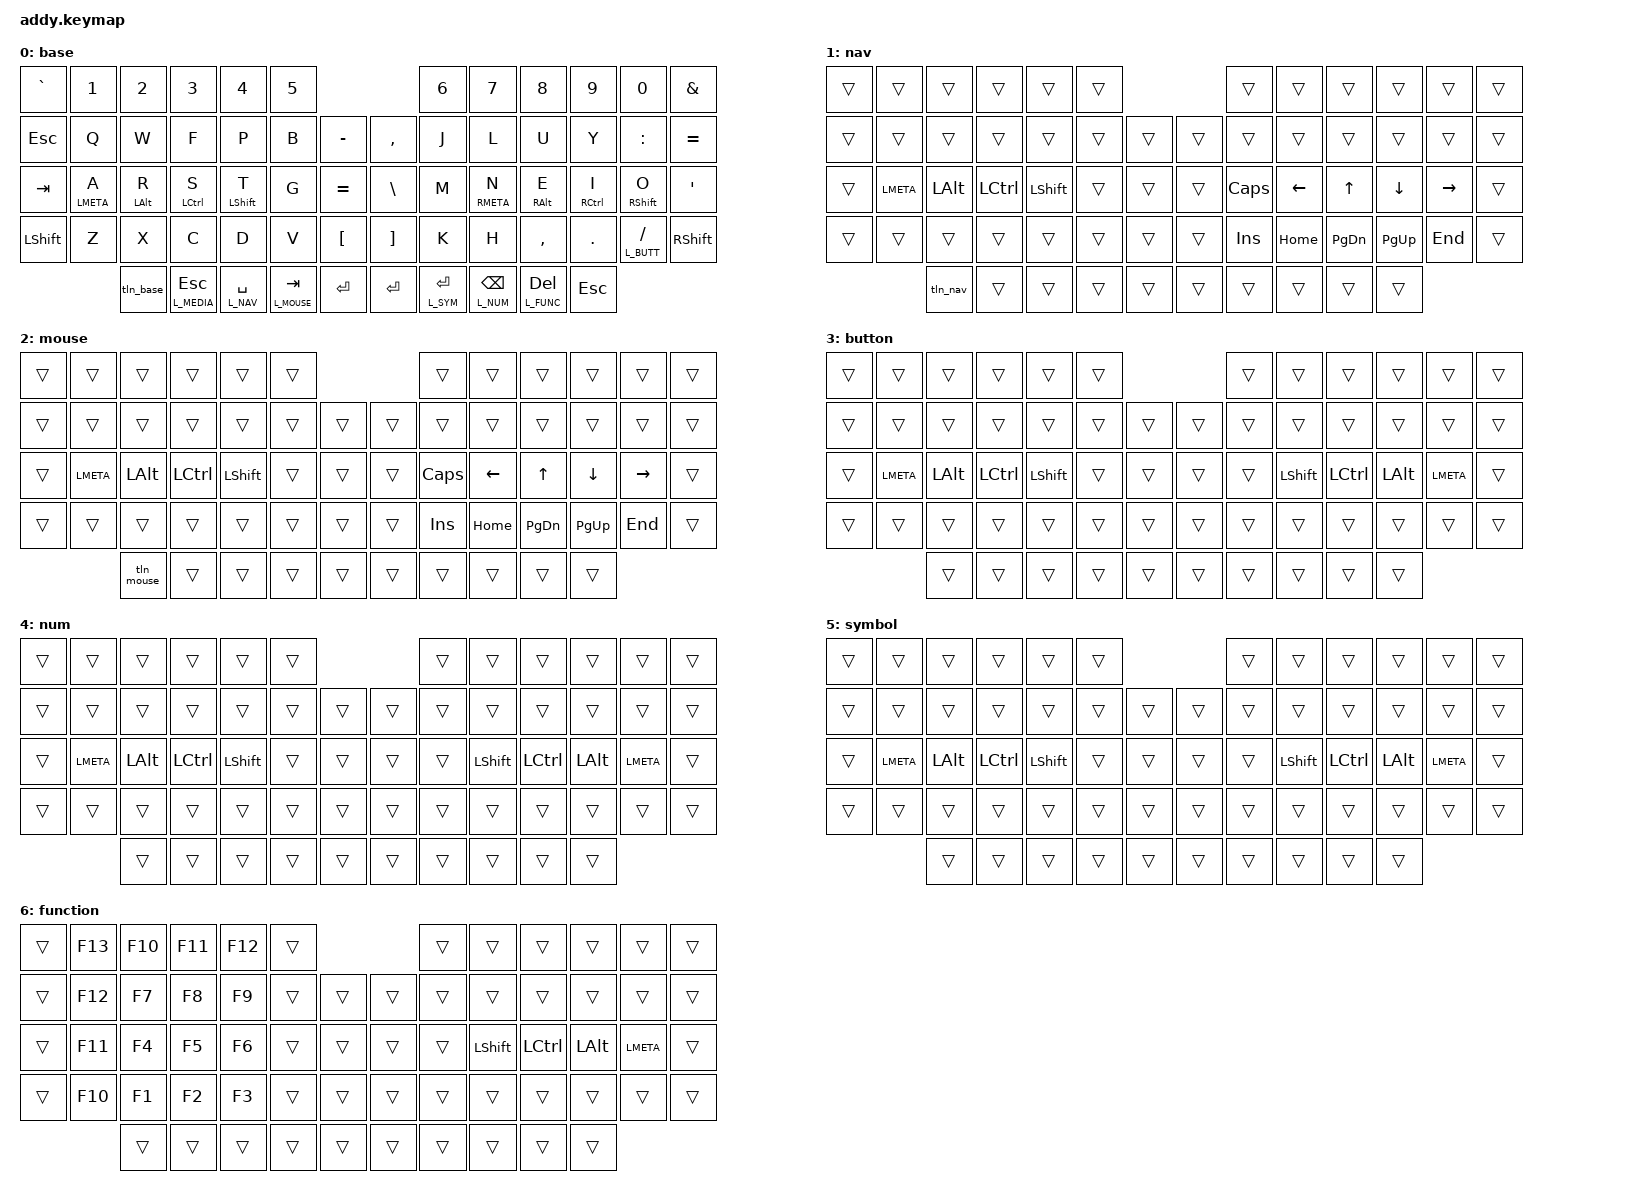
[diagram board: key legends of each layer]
/*
 * Copyright (c) 2020 The ZMK Contributors
 *
 * SPDX-License-Identifier: MIT
 */

#include <behaviors.dtsi>
#include <dt-bindings/zmk/keys.h>
#include <dt-bindings/zmk/bt.h>
#include <dt-bindings/zmk/rgb.h>
#include <dt-bindings/zmk/ext_power.h>
#include <dt-bindings/zmk/outputs.h>

#define L_BASE 0
#define L_NAV 1
#define L_MOUSE 2
#define L_BUTT 3
#define L_NUM 4
#define L_SYM 5
#define L_FUNC 6
#define L_MEDIA 7
#define L_EXTRA 8


&lt {
    tapping-term-ms = <200>;
};

/ {
    macros {
        tln_base: type_base {
            label = "Type Base";
            compatible = "zmk,behavior-macro";
            #binding-cells = <0>;
            bindings = <&kp B &kp A &kp S &kp E>;
        };
        tln_nav: type_nav {
            label = "Type nav";
            compatible = "zmk,behavior-macro";
            #binding-cells = <0>;
            bindings = <&kp N &kp A &kp V>;
        };
        tln_mouse: type_mouse {
            label = "Type mouse";
            compatible = "zmk,behavior-macro";
            #binding-cells = <0>;
            bindings = <&kp M &kp O &kp U &kp S &kp E>;
        };
    };
};

#define A_LMETA &mt LMETA A
#define R_LALT  &mt LALT R
#define S_LCTRL &mt LCTRL S
#define T_LSHFT &mt LSHFT T
#define N_RMETA &mt RMETA N
#define E_RALT  &mt RALT E
#define I_RCTRL &mt RCTRL I
#define O_RSHFT &mt RSHFT O

/ {

    keymap {
        compatible = "zmk,keymap";

        default_layer {
            label = "base";

            bindings = <
             &kp GRAVE    &kp N1       &kp N2       &kp N3           &kp N4          &kp N5                                              &kp N6              &kp N7           &kp N8            &kp N9       &kp N0              &kp AMPERSAND
             &kp ESC      &kp Q        &kp W        &kp F            &kp P           &kp B               &kp MINUS          &kp COMMA    &kp J               &kp L            &kp U             &kp Y        &kp COLON           &kp EQUAL
             &kp TAB      A_LMETA      R_LALT       S_LCTRL          T_LSHFT         &kp G               &kp EQUAL          &kp BSLH     &kp M               N_RMETA          E_RALT            I_RCTRL      O_RSHFT             &kp SQT
             &kp LSHFT    &kp Z        &kp X        &kp C            &kp D           &kp V               &kp LBKT           &kp RBKT     &kp K               &kp H            &kp COMMA         &kp DOT      &lt L_BUTT FSLH     &kp RSHFT
                                       &tln_base    &lt L_MEDIA ESC  &lt L_NAV SPACE &lt L_MOUSE TAB     &kp ENTER          &kp ENTER    &lt L_SYM ENTER     &lt L_NUM  BSPC  &lt L_FUNC DEL    &kp ESC
            >;
        };

        nav_layer {
            label = "nav";
            bindings = <
             &trans       &trans       &trans       &trans       &trans       &trans                                        &trans       &trans       &trans       &trans       &trans       &trans
             &trans       &trans       &trans       &trans       &trans       &trans       &trans              &trans       &trans       &trans       &trans       &trans       &trans       &trans
             &trans       &kp LMETA    &kp LALT     &kp LCTRL    &kp LSHFT    &trans       &trans              &trans       &kp CAPS     &kp LEFT     &kp UP       &kp DOWN     &kp RIGHT    &trans
             &trans       &trans       &trans       &trans       &trans       &trans       &trans              &trans       &kp INS      &kp HOME     &kp PG_DN    &kp PG_UP    &kp END       &trans
                                       &tln_nav     &trans       &trans       &trans       &trans              &trans       &trans       &trans       &trans       &trans
            >;
        };

        mouse_layer {
            label = "mouse";
            bindings = <
             &trans       &trans       &trans       &trans       &trans       &trans                                        &trans       &trans       &trans       &trans       &trans       &trans
             &trans       &trans       &trans       &trans       &trans       &trans       &trans              &trans       &trans       &trans       &trans       &trans       &trans       &trans
             &trans       &kp LMETA    &kp LALT     &kp LCTRL    &kp LSHFT    &trans       &trans              &trans       &kp CAPS     &kp LEFT     &kp UP       &kp DOWN     &kp RIGHT    &trans
             &trans       &trans       &trans       &trans       &trans       &trans       &trans              &trans       &kp INS      &kp HOME     &kp PG_DN    &kp PG_UP    &kp END       &trans
                                       &tln_mouse   &trans       &trans       &trans       &trans              &trans       &trans       &trans       &trans       &trans
            >;
        };

        button_layer {
            label = "button";
            bindings = <
             &trans       &trans       &trans       &trans       &trans       &trans                                        &trans       &trans       &trans       &trans       &trans       &trans
             &trans       &trans       &trans       &trans       &trans       &trans       &trans              &trans       &trans       &trans       &trans       &trans       &trans       &trans
             &trans       &kp LMETA    &kp LALT     &kp LCTRL    &kp LSHFT    &trans       &trans              &trans       &trans       &kp LSHFT    &kp LCTRL    &kp LALT     &kp LMETA    &trans
             &trans       &trans       &trans       &trans       &trans       &trans       &trans              &trans       &trans       &trans       &trans       &trans       &trans       &trans
                                       &trans       &trans       &trans       &trans       &trans              &trans       &trans       &trans       &trans       &trans
            >;
        };

        num_layer {
            label = "num";
            bindings = <
             &trans       &trans       &trans       &trans       &trans       &trans                                        &trans       &trans       &trans       &trans       &trans       &trans
             &trans       &trans       &trans       &trans       &trans       &trans       &trans              &trans       &trans       &trans       &trans       &trans       &trans       &trans
             &trans       &kp LMETA    &kp LALT     &kp LCTRL    &kp LSHFT    &trans       &trans              &trans       &trans       &kp LSHFT    &kp LCTRL    &kp LALT     &kp LMETA    &trans
             &trans       &trans       &trans       &trans       &trans       &trans       &trans              &trans       &trans       &trans       &trans       &trans       &trans       &trans
                                       &trans       &trans       &trans       &trans       &trans              &trans       &trans       &trans       &trans       &trans
            >;
        };

        symbol_layer {
            label = "symbol";
            bindings = <
             &trans       &trans       &trans       &trans       &trans       &trans                                        &trans       &trans       &trans       &trans       &trans       &trans
             &trans       &trans       &trans       &trans       &trans       &trans       &trans              &trans       &trans       &trans       &trans       &trans       &trans       &trans
             &trans       &kp LMETA    &kp LALT     &kp LCTRL    &kp LSHFT    &trans       &trans              &trans       &trans       &kp LSHFT    &kp LCTRL    &kp LALT     &kp LMETA    &trans
             &trans       &trans       &trans       &trans       &trans       &trans       &trans              &trans       &trans       &trans       &trans       &trans       &trans       &trans
                                       &trans       &trans       &trans       &trans       &trans              &trans       &trans       &trans       &trans       &trans
            >;
        };

        function_layer {
            label = "function";
            bindings = <
             &trans       &kp F13    &kp F10      &kp F11      &kp F12      &trans                                          &trans       &trans       &trans       &trans       &trans       &trans
             &trans       &kp F12    &kp F7       &kp F8       &kp F9       &trans       &trans                &trans       &trans       &trans       &trans       &trans       &trans       &trans
             &trans       &kp F11    &kp F4       &kp F5       &kp F6       &trans       &trans                &trans       &trans       &kp LSHFT    &kp LCTRL    &kp LALT     &kp LMETA    &trans
             &trans       &kp F10    &kp F1       &kp F2       &kp F3       &trans       &trans                &trans       &trans       &trans       &trans       &trans       &trans       &trans
                                       &trans       &trans       &trans       &trans       &trans              &trans       &trans       &trans       &trans       &trans
            >;
        };
    };
};

/*
TRANSPARENT
             &trans       &trans       &trans       &trans       &trans       &trans                                        &trans       &trans       &trans       &trans       &trans       &trans
             &trans       &trans       &trans       &trans       &trans       &trans       &trans              &trans       &trans       &trans       &trans       &trans       &trans       &trans
             &trans       &trans       &trans       &trans       &trans       &trans       &trans              &trans       &trans       &trans       &trans       &trans       &trans       &trans
             &trans       &trans       &trans       &trans       &trans       &trans       &trans              &trans       &trans       &trans       &trans       &trans       &trans       &trans
                                       &trans       &trans       &trans       &trans       &trans              &trans       &trans       &trans       &trans       &trans
*/
